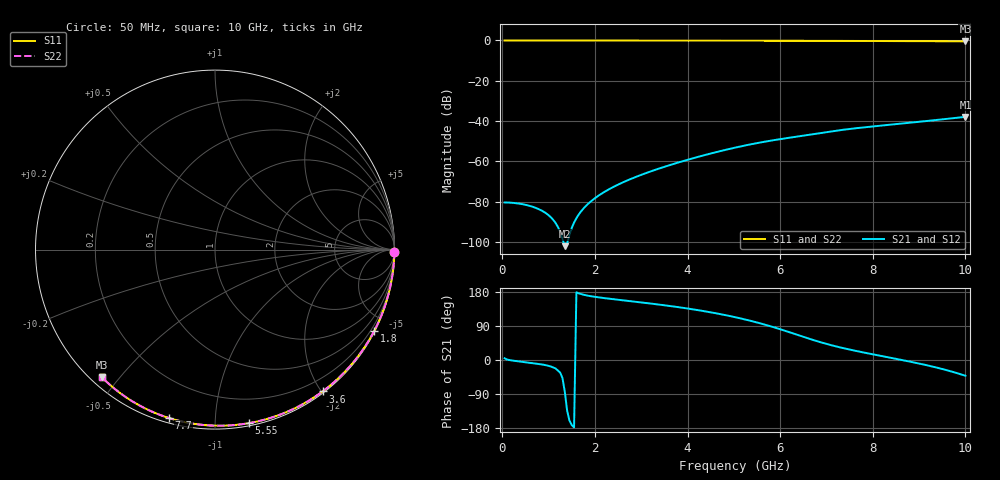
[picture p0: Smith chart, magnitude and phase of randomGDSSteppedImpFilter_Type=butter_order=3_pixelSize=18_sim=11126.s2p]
! freq	dB(S11)	phase(S11)	dB(S12)	phase(S12)
!  dB(S21)	phase(S21)	dB(S22)	phase(S22)
!S-par simulation data
#  GHz  S  DB  R 50
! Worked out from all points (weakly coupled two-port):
!   200 points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, 50 MHz to 10 GHz, reference 50 ohm
!   highest |S21| = -37.91 dB at 10 GHz (marker M1); lowest = -102.1 dB at 1.35 GHz (marker M2)
!   lowest |S11| = -0.4 dB at 10 GHz (marker M3), VSWR 39.13, Z = 1.53 - j22.4 ohm
!   |S11| at or under -10 dB: nowhere
!   |S22| runs from -0.4 to 0.0 dB; largest |S21 - S12| = 0
!   S11 on the Smith chart (normalised r, x): 50 MHz: open; 1.8 GHz: 0.04, -4.16; 3.6 GHz: 0.02, -2.01; 5.55 GHz: 0.02, -1.22; 7.7 GHz: 0.02, -0.76; 10 GHz: 0.03, -0.45
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0.05  -0.00 -0.8  -80.39 4.5  -80.39 4.5  -0.00 -0.7
0.7  -0.01 -10.6  -82.87 -8.8  -82.87 -8.8  -0.01 -10.6
1.35  -0.03 -20.3  -102.07 -83.9  -102.07 -83.9  -0.03 -20.3
1.75  -0.03 -26.3  -83.46 172.3  -83.46 172.3  -0.03 -26.3
1.8  -0.03 -27.0  -82.23 170.9  -82.23 170.9  -0.03 -27.0
1.9  -0.04 -28.5  -80.09 168.6  -80.09 168.6  -0.04 -28.5
2.05  -0.04 -30.7  -77.43 165.8  -77.43 165.8  -0.04 -30.7
2.25  -0.04 -33.6  -74.53 162.6  -74.53 162.6  -0.04 -33.6
2.45  -0.05 -36.5  -72.08 159.7  -72.08 159.7  -0.05 -36.5
2.65  -0.05 -39.4  -69.94 156.9  -69.94 156.9  -0.05 -39.4
3  -0.06 -44.4  -66.68 152.0  -66.68 152.0  -0.06 -44.4
3.4  -0.07 -50.0  -63.44 146.0  -63.44 146.0  -0.07 -50.0
3.6  -0.07 -52.8  -61.96 142.8  -61.96 142.8  -0.07 -52.8
4.3  -0.09 -62.4  -57.30 130.1  -57.30 130.1  -0.09 -62.4
5.05  -0.11 -72.4  -53.06 112.4  -53.06 112.4  -0.11 -72.4
5.55  -0.13 -78.8  -50.72 97.4  -50.72 97.4  -0.13 -78.8
6.1  -0.15 -85.8  -48.61 77.4  -48.61 77.4  -0.15 -85.8
6.7  -0.18 -93.2  -46.50 53.3  -46.50 53.3  -0.18 -93.2
7.7  -0.24 -105.3  -43.39 22.3  -43.39 22.3  -0.24 -105.3
8.35  -0.29 -112.9  -41.88 6.7  -41.88 6.7  -0.29 -112.9
9.15  -0.36 -122.1  -40.01 -13.4  -40.01 -13.4  -0.36 -122.1
10  -0.44 -131.7  -37.91 -41.6  -37.91 -41.6  -0.44 -131.7
